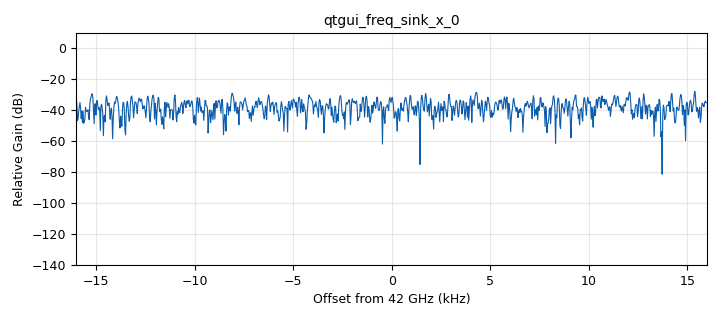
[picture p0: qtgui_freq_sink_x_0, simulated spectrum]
options:
  parameters:
    author: rhydberg
    generate_options: qt_gui
    id: barrage_jammer
    output_language: python
    title: Not titled yet
  states: {}

blocks:
- name: baseband_gain
  id: variable_qtgui_range
  parameters:
    start: '-40'
    step: '1'
    stop: '-5'
    value: '-5'
  states: {}
- name: rf_gain
  id: variable_qtgui_range
  parameters:
    start: '0'
    step: '1'
    stop: '25'
    value: '0'
  states: {}
- name: samp_rate
  id: variable
  parameters:
    value: '32000'
  states: {}
- name: analog_noise_source_x_0
  id: analog_noise_source_x
  parameters:
    amp: '1'
    noise_type: analog.GR_GAUSSIAN
    seed: '0'
    type: complex
  states: {}
- name: analog_sig_source_x_0
  id: analog_sig_source_x
  parameters:
    amp: '1'
    freq: 1.57e9
    offset: '0'
    phase: '0'
    samp_rate: samp_rate
    type: complex
    waveform: analog.GR_COS_WAVE
  states: {state: disabled}
- name: osmosdr_sink_0
  id: osmosdr_sink
  parameters:
    bb_gain0: '20'
    freq0: 47e6
    gain0: '10'
    if_gain0: '20'
    sample_rate: samp_rate
    sync: sync
    type: fc32
  states: {}
- name: osmosdr_source_0
  id: osmosdr_source
  parameters:
    bb_gain0: '20'
    freq0: 47e6
    gain0: '10'
    gain_mode0: 'False'
    if_gain0: '20'
    sample_rate: samp_rate
    sync: sync
    type: fc32
  states: {}
- name: qtgui_freq_sink_x_0
  id: qtgui_freq_sink_x
  parameters:
    bw: samp_rate
    fc: 42e9
    fftsize: '1024'
    type: complex
  states: {}
- name: qtgui_freq_sink_x_1
  id: qtgui_freq_sink_x
  parameters:
    bw: samp_rate
    fc: 42e9
    fftsize: '1024'
    type: complex
  states: {}
- name: qtgui_tab_widget_0
  id: qtgui_tab_widget
  parameters:
    label0: before
    label1: after
    num_tabs: '2'
  states: {}

connections:
- [analog_noise_source_x_0, '0', osmosdr_sink_0, '0']
- [analog_noise_source_x_0, '0', qtgui_freq_sink_x_0, '0']
- [analog_sig_source_x_0, '0', qtgui_freq_sink_x_1, '0']
- [osmosdr_source_0, '0', qtgui_freq_sink_x_1, '0']

metadata:
  file_format: 1
  grc_version: 3.10.6.0
